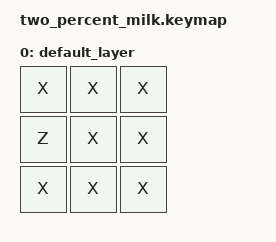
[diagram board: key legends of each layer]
/*
 * Copyright (c) 2022 The ZMK Contributors
 *
 * SPDX-License-Identifier: MIT
 */

#include <behaviors.dtsi>
#include <dt-bindings/zmk/keys.h>
#include <dt-bindings/zmk/bt.h>

/ {
    keymap {
        compatible = "zmk,keymap";

        default_layer {
            bindings = <
                &kp X   &kp X   &kp X
                &kp Z   &kp X   &kp X
                &kp X   &kp X   &kp X
            >;
        };
    };
};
